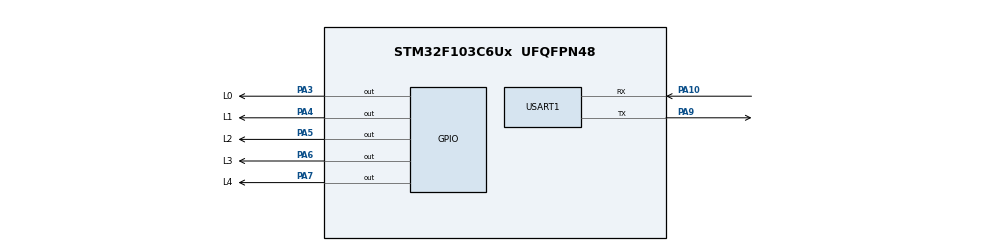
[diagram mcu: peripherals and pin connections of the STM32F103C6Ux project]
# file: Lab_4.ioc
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Mcu.Family=STM32F1
Mcu.Name=STM32F103C6Ux
Mcu.Package=UFQFPN48
NVIC.PriorityGroup=NVIC_PRIORITYGROUP_4
NVIC.TIM2_IRQn=true\:0\:0\:false\:false\:true\:true\:true
PA10.Mode=Asynchronous
PA10.Signal=USART1_RX
PA3.GPIO_Label=L0
PA3.Signal=GPIO_Output
PA4.GPIO_Label=L1
PA4.Signal=GPIO_Output
PA5.GPIO_Label=L2
PA5.Signal=GPIO_Output
PA6.GPIO_Label=L3
PA6.Signal=GPIO_Output
PA7.GPIO_Label=L4
PA7.Signal=GPIO_Output
PA9.Mode=Asynchronous
PA9.Signal=USART1_TX
ProjectManager.HeapSize=0x200
ProjectManager.StackSize=0x400
ProjectManager.TargetToolchain=STM32CubeIDE
RCC.APB1Freq_Value=8000000
RCC.APB2Freq_Value=8000000
TIM2.Period=9
TIM2.Prescaler=7999
USART1.VirtualMode=VM_ASYNC
VP_SYS_VS_ND.Mode=No_Debug
VP_TIM2_VS_ClockSourceINT.Mode=Internal
board=custom

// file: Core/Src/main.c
/* USER CODE BEGIN Header */
/**
  ******************************************************************************
  * @file           : main.c
  * @brief          : Main program body
  ******************************************************************************
  * @attention
  *
  * <h2><center>&copy; Copyright (c) 2026 STMicroelectronics.
  * All rights reserved.</center></h2>
  *
  * This software component is licensed by ST under BSD 3-Clause license,
  * the "License"; You may not use this file except in compliance with the
  * License. You may obtain a copy of the License at:
  *                        opensource.org/licenses/BSD-3-Clause
  *
  ******************************************************************************
  */
/* USER CODE END Header */
#include "main.h"

/* USER CODE BEGIN Includes */
#include "scheduler.h"

/* USER CODE END Includes */

/* USER CODE BEGIN PD */
/* All six callbacks are logged; no build-time switch is necessary. */
/* USER CODE END PD */

TIM_HandleTypeDef htim2;

UART_HandleTypeDef huart1;

void SystemClock_Config(void);
static void MX_GPIO_Init(void);
static void MX_TIM2_Init(void);
static void MX_USART1_UART_Init(void);
/* USER CODE BEGIN PFP */
static void Task_10ms(void);
static void Task_LED0_500ms(void);
static void Task_LED1_1000ms(void);
static void Task_LED2_1500ms(void);
static void Task_LED3_2000ms(void);
static void Task_LED4_2500ms(void);
static void Task_OneShot_1000ms(void);
static void UART_Print_Task(const char *task_name, uint32_t timestamp_ms);

/* USER CODE END PFP */

/* USER CODE BEGIN 0 */
/*
 * Lab4 UART format exactly:
 *     Task10 done at 480ms
 *     Task10 done at 490ms
 *     Task10 done at 500ms
 *     Task0.5 done at 500ms
 * UART runs in MAIN, not the timer interrupt.
 * The value after "at" is always SCH_get_time().
 */
static void UART_Print_Task(const char *task_name, uint32_t timestamp_ms)
{
  uint8_t line[48];
  uint8_t rev[10];
  uint16_t pos = 0U;
  uint8_t count = 0U;
  static const char suffix[] = " done at ";
  const char *p = task_name;

  while (*p != '\0') {
    line[pos++] = (uint8_t)(*p++);
  }
  for (uint32_t i = 0U; i < sizeof(suffix) - 1U; ++i) {
    line[pos++] = (uint8_t)suffix[i];
  }
  do {
    rev[count++] = (uint8_t)('0' + (timestamp_ms % 10U));
    timestamp_ms /= 10U;
  } while (timestamp_ms != 0U);
  while (count != 0U) {
    line[pos++] = rev[--count];
  }
  line[pos++] = 'm';
  line[pos++] = 's';
  line[pos++] = '\r';
  line[pos++] = '\n';

  /* 115200 baud, 8N1. One ordinary line takes about 2-3 ms on UART.
   * When several callbacks share a deadline, lines are output sequentially.
   */
  (void)HAL_UART_Transmit(&huart1, line, pos, 30U);
}

static void Task_10ms(void)
{
  UART_Print_Task("Task10", SCH_get_time());
}

static void Task_LED0_500ms(void)
{
  HAL_GPIO_TogglePin(L0_GPIO_Port, L0_Pin);
  UART_Print_Task("Task0.5", SCH_get_time());
}

static void Task_LED1_1000ms(void)
{
  HAL_GPIO_TogglePin(L1_GPIO_Port, L1_Pin);
  UART_Print_Task("Task1", SCH_get_time());
}

static void Task_LED2_1500ms(void)
{
  HAL_GPIO_TogglePin(L2_GPIO_Port, L2_Pin);
  UART_Print_Task("Task1.5", SCH_get_time());
}

static void Task_LED3_2000ms(void)
{
  HAL_GPIO_TogglePin(L3_GPIO_Port, L3_Pin);
  UART_Print_Task("Task2", SCH_get_time());
}

static void Task_LED4_2500ms(void)
{
  HAL_GPIO_TogglePin(L4_GPIO_Port, L4_Pin);
  UART_Print_Task("Task2.5", SCH_get_time());
}

/* One-shot: called exactly once, at 1000 ms after TIM2 starts. */
static void Task_OneShot_1000ms(void)
{
  UART_Print_Task("TaskOneShot", SCH_get_time());
}

/* USER CODE END 0 */

int main(void)
{

  /* MCU Configuration--------------------------------------------------------*/

  /* Reset of all peripherals, Initializes the Flash interface and the Systick. */
  HAL_Init();

  /* Configure the system clock */
  SystemClock_Config();

  /* Initialize all configured peripherals */
  MX_GPIO_Init();
  MX_TIM2_Init();
  MX_USART1_UART_Init();
  /* USER CODE BEGIN 2 */
  /* All delays and periods below are in 10-ms scheduler ticks. */
  SCH_Init();
  if (SCH_Add_Task(Task_10ms,          1U,   1U) == NO_TASK_ID ||
      SCH_Add_Task(Task_LED0_500ms,  50U,  50U) == NO_TASK_ID ||
      SCH_Add_Task(Task_LED1_1000ms,100U, 100U) == NO_TASK_ID ||
      SCH_Add_Task(Task_LED2_1500ms,150U, 150U) == NO_TASK_ID ||
      SCH_Add_Task(Task_LED3_2000ms,200U, 200U) == NO_TASK_ID ||
      SCH_Add_Task(Task_LED4_2500ms,250U, 250U) == NO_TASK_ID ||
      SCH_Add_Task(Task_OneShot_1000ms,100U,0U) == NO_TASK_ID) {
    Error_Handler();
  }

  /* Start TIM2 AFTER registering all six periodic callbacks. */
  if (HAL_TIM_Base_Start_IT(&htim2) != HAL_OK) {
    Error_Handler();
  }
  /* USER CODE END 2 */

  /* Infinite loop */
  while (1)
  {

    /* USER CODE BEGIN 3 */
    SCH_Dispatch_Tasks();
  }
  /* USER CODE END 3 */
}

void SystemClock_Config(void)
{
  RCC_OscInitTypeDef RCC_OscInitStruct = {0};
  RCC_ClkInitTypeDef RCC_ClkInitStruct = {0};

  /** Initializes the RCC Oscillators according to the specified parameters
  * in the RCC_OscInitTypeDef structure.
  */
  RCC_OscInitStruct.OscillatorType = RCC_OSCILLATORTYPE_HSI;
  RCC_OscInitStruct.HSIState = RCC_HSI_ON;
  RCC_OscInitStruct.HSICalibrationValue = RCC_HSICALIBRATION_DEFAULT;
  RCC_OscInitStruct.PLL.PLLState = RCC_PLL_NONE;
  if (HAL_RCC_OscConfig(&RCC_OscInitStruct) != HAL_OK)
  {
    Error_Handler();
  }
  /** Initializes the CPU, AHB and APB buses clocks
  */
  RCC_ClkInitStruct.ClockType = RCC_CLOCKTYPE_HCLK|RCC_CLOCKTYPE_SYSCLK
                              |RCC_CLOCKTYPE_PCLK1|RCC_CLOCKTYPE_PCLK2;
  RCC_ClkInitStruct.SYSCLKSource = RCC_SYSCLKSOURCE_HSI;
  RCC_ClkInitStruct.AHBCLKDivider = RCC_SYSCLK_DIV1;
  RCC_ClkInitStruct.APB1CLKDivider = RCC_HCLK_DIV1;
  RCC_ClkInitStruct.APB2CLKDivider = RCC_HCLK_DIV1;

  if (HAL_RCC_ClockConfig(&RCC_ClkInitStruct, FLASH_LATENCY_0) != HAL_OK)
  {
    Error_Handler();
  }
}

static void MX_TIM2_Init(void)
{

  TIM_ClockConfigTypeDef sClockSourceConfig = {0};
  TIM_MasterConfigTypeDef sMasterConfig = {0};

  htim2.Instance = TIM2;
  htim2.Init.Prescaler = 7999;
  htim2.Init.CounterMode = TIM_COUNTERMODE_UP;
  htim2.Init.Period = 9;
  htim2.Init.ClockDivision = TIM_CLOCKDIVISION_DIV1;
  htim2.Init.AutoReloadPreload = TIM_AUTORELOAD_PRELOAD_DISABLE;
  if (HAL_TIM_Base_Init(&htim2) != HAL_OK)
  {
    Error_Handler();
  }
  sClockSourceConfig.ClockSource = TIM_CLOCKSOURCE_INTERNAL;
  if (HAL_TIM_ConfigClockSource(&htim2, &sClockSourceConfig) != HAL_OK)
  {
    Error_Handler();
  }
  sMasterConfig.MasterOutputTrigger = TIM_TRGO_RESET;
  sMasterConfig.MasterSlaveMode = TIM_MASTERSLAVEMODE_DISABLE;
  if (HAL_TIMEx_MasterConfigSynchronization(&htim2, &sMasterConfig) != HAL_OK)
  {
    Error_Handler();
  }

}

static void MX_USART1_UART_Init(void)
{

  huart1.Instance = USART1;
  huart1.Init.BaudRate = 115200;
  huart1.Init.WordLength = UART_WORDLENGTH_8B;
  huart1.Init.StopBits = UART_STOPBITS_1;
  huart1.Init.Parity = UART_PARITY_NONE;
  huart1.Init.Mode = UART_MODE_TX_RX;
  huart1.Init.HwFlowCtl = UART_HWCONTROL_NONE;
  huart1.Init.OverSampling = UART_OVERSAMPLING_16;
  if (HAL_UART_Init(&huart1) != HAL_OK)
  {
    Error_Handler();
  }

}

static void MX_GPIO_Init(void)
{
  GPIO_InitTypeDef GPIO_InitStruct = {0};

  /* GPIO Ports Clock Enable */
  __HAL_RCC_GPIOA_CLK_ENABLE();

  /*Configure GPIO pin Output Level */
  HAL_GPIO_WritePin(GPIOA, L0_Pin|L1_Pin|L2_Pin|L3_Pin
                          |L4_Pin, GPIO_PIN_RESET);

  /*Configure GPIO pins : L0_Pin L1_Pin L2_Pin L3_Pin
                           L4_Pin */
  GPIO_InitStruct.Pin = L0_Pin|L1_Pin|L2_Pin|L3_Pin
                          |L4_Pin;
  GPIO_InitStruct.Mode = GPIO_MODE_OUTPUT_PP;
  GPIO_InitStruct.Pull = GPIO_NOPULL;
  GPIO_InitStruct.Speed = GPIO_SPEED_FREQ_LOW;
  HAL_GPIO_Init(GPIOA, &GPIO_InitStruct);

}

/* USER CODE BEGIN 4 */
/* 8 MHz / (7999+1) / (9+1) = 100 Hz ==> 10 ms tick. */
void HAL_TIM_PeriodElapsedCallback(TIM_HandleTypeDef *htim)
{
  if (htim->Instance == TIM2) {
    SCH_Update(); /* O(1): only time/countdown, NO task runs in IRQ. */
  }
}

/* USER CODE END 4 */

void Error_Handler(void)
{
  __disable_irq();
  while (1)
  {
  }
}

/************************ (C) COPYRIGHT STMicroelectronics *****END OF FILE****/
